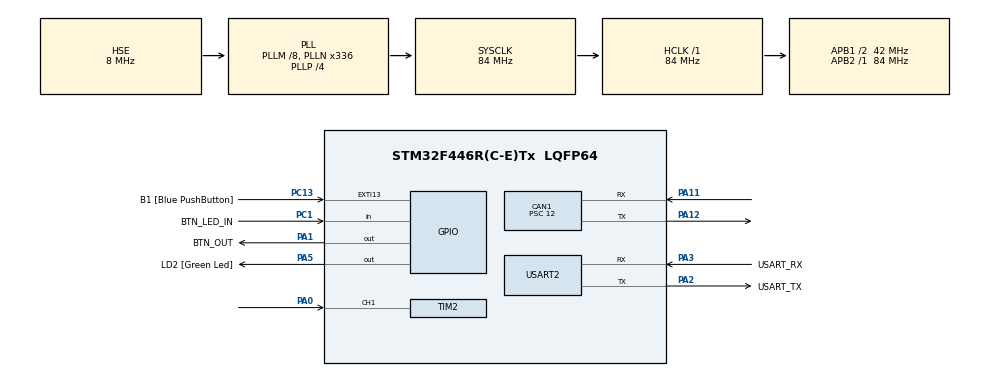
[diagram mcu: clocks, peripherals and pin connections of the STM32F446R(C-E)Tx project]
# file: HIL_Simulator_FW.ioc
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CAN1.BS1=CAN_BS1_11TQ
CAN1.BS2=CAN_BS2_2TQ
CAN1.CalculateBaudRate=250000
CAN1.CalculateTimeBit=4000
CAN1.CalculateTimeQuantum=285.7142857142857
CAN1.Prescaler=12
Mcu.Family=STM32F4
Mcu.Name=STM32F446R(C-E)Tx
Mcu.Package=LQFP64
NVIC.CAN1_RX0_IRQn=true\:15\:0\:true\:false\:true\:true\:true\:true
NVIC.CAN1_SCE_IRQn=true\:15\:0\:true\:false\:true\:true\:true\:true
NVIC.CAN1_TX_IRQn=true\:15\:0\:true\:false\:true\:true\:true\:true
NVIC.PriorityGroup=NVIC_PRIORITYGROUP_4
NVIC.TIM2_IRQn=true\:12\:0\:true\:false\:true\:true\:true\:true
NVIC.TIM6_DAC_IRQn=true\:0\:0\:false\:false\:true\:false\:true\:true
NVIC.TimeBase=TIM6_DAC_IRQn
NVIC.TimeBaseIP=TIM6
PA0-WKUP.Signal=S_TIM2_CH1_ETR
PA1.GPIO_Label=BTN_OUT
PA1.GPIO_PuPd=GPIO_PULLDOWN
PA1.Signal=GPIO_Output
PA11.Mode=CAN_Activate
PA11.Signal=CAN1_RX
PA12.Mode=CAN_Activate
PA12.Signal=CAN1_TX
PA13.GPIO_Label=TMS
PA13.Mode=Serial_Wire
PA13.Signal=SYS_JTMS-SWDIO
PA14.GPIO_Label=TCK
PA14.Mode=Serial_Wire
PA14.Signal=SYS_JTCK-SWCLK
PA2.GPIO_Label=USART_TX
PA2.Mode=Asynchronous
PA2.Signal=USART2_TX
PA3.GPIO_Label=USART_RX
PA3.Mode=Asynchronous
PA3.Signal=USART2_RX
PA5.GPIO_Label=LD2 [Green Led]
PA5.Signal=GPIO_Output
PB3.GPIO_Label=SWO
PB3.Signal=SYS_JTDO-SWO
PC1.GPIO_Label=BTN_LED_IN
PC1.Signal=GPIO_Input
PC13.GPIO_Label=B1 [Blue PushButton]
PC13.GPIO_ModeDefaultEXTI=GPIO_MODE_IT_FALLING
PC13.Signal=GPXTI13
PC14-OSC32_IN.Mode=LSE-External-Oscillator
PC14-OSC32_IN.Signal=RCC_OSC32_IN
PC15-OSC32_OUT.Mode=LSE-External-Oscillator
PC15-OSC32_OUT.Signal=RCC_OSC32_OUT
PH0-OSC_IN.Mode=HSE-External-Oscillator
PH0-OSC_IN.Signal=RCC_OSC_IN
PH1-OSC_OUT.Mode=HSE-External-Oscillator
PH1-OSC_OUT.Signal=RCC_OSC_OUT
ProjectManager.HeapSize=0x200
ProjectManager.StackSize=0x400
ProjectManager.TargetToolchain=STM32CubeIDE
RCC.48MHZClocksFreq_Value=84000000
RCC.AHBFreq_Value=84000000
RCC.APB1CLKDivider=RCC_HCLK_DIV2
RCC.APB1Freq_Value=42000000
RCC.APB1TimFreq_Value=84000000
RCC.APB2Freq_Value=84000000
RCC.APB2TimFreq_Value=84000000
RCC.CortexFreq_Value=84000000
RCC.FLatency-AdvancedSettings=FLASH_LATENCY_2
RCC.HCLKFreq_Value=84000000
RCC.HSE_VALUE=8000000
RCC.HSI_VALUE=16000000
RCC.PLLM=8
RCC.PLLN=336
RCC.PLLP=RCC_PLLP_DIV4
RCC.PLLSourceVirtual=RCC_PLLSOURCE_HSE
RCC.SYSCLKFreq_VALUE=84000000
RCC.SYSCLKSource=RCC_SYSCLKSOURCE_PLLCLK
RCC.USBFreq_Value=168000000
RCC.VCOOutputFreq_Value=336000000
SH.S_TIM2_CH1_ETR.0=TIM2_CH1,Input_Capture1_from_TI1
TIM2.AutoReloadPreload=TIM_AUTORELOAD_PRELOAD_DISABLE
TIM2.Channel-Input_Capture1_from_TI1=TIM_CHANNEL_1
TIM2.Period=0xFFFFFFFF
TIM2.Prescaler=1
USART2.VirtualMode=VM_ASYNC
VP_SYS_VS_tim6.Mode=TIM6
board=NUCLEO-F446RE

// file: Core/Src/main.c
/* USER CODE BEGIN Header */
/**
  ******************************************************************************
  * @file           : main.c
  * @brief          : Main program body
  ******************************************************************************
  * @attention
  *
  * Copyright (c) 2024 STMicroelectronics.
  * All rights reserved.
  *
  * This software is licensed under terms that can be found in the LICENSE file
  * in the root directory of this software component.
  * If no LICENSE file comes with this software, it is provided AS-IS.
  *
  ******************************************************************************
  */
/* USER CODE END Header */
#include "main.h"

/* USER CODE BEGIN Includes */

#include "comm_handler.h"
#include "test_case_handler.h"
#include "semphr.h"

#include <stdio.h>
#include <string.h>

/* USER CODE END Includes */

/* USER CODE BEGIN PD */

typedef void (*FuncPtr)(void *);
/* USER CODE END PD */

CAN_HandleTypeDef hcan1;

TIM_HandleTypeDef htim2;

UART_HandleTypeDef huart2;

/* USER CODE BEGIN PV */

TaskHandle_t xtaskHandles[MAX_EMULATOR_TASKS];
static FuncPtr taskFuntions[MAX_EMULATOR_TASKS] = { vComm_Uart_Handler
		, vGPIO_O_Test_Handler
		, vGPIO_IO_Test_Handler
		, vUART_Test_Handler
		, vI2C_Test_Handler
		, vCAN_Test_Handler };

static const char * taskNames[MAX_EMULATOR_TASKS] = { "vComm_Uart_Handler"
		, "vGPIO_O_Test_Handler"
		, "vGPIO_IO_Test_Handler"
		, "vUART_Test_Handler"
		, "vI2C_Test_Handler"
		, "vCAN_Test_Handler" };

QueueHandle_t xTestTaskQueues[MAX_TEST_TASKS];
SemaphoreHandle_t xLogMutex;

/* USER CODE END PV */

void SystemClock_Config(void);
static void MX_GPIO_Init(void);
static void MX_USART2_UART_Init(void);
static void MX_TIM2_Init(void);
static void MX_CAN1_Init(void);
/* USER CODE BEGIN PFP */

void vEmulator_Init( void );
/* USER CODE END PFP */

int main(void)
{

  /* MCU Configuration--------------------------------------------------------*/

  /* Reset of all peripherals, Initializes the Flash interface and the Systick. */
  HAL_Init();

  /* Configure the system clock */
  SystemClock_Config();

  /* USER CODE BEGIN SysInit */
  printf("HAL_RCC_GetSysClockFreq(): %ld\n",HAL_RCC_GetSysClockFreq());
  printf("HAL_RCC_GetHCLKFreq(): %ld\n",HAL_RCC_GetHCLKFreq());
  printf("HAL_RCC_GetPCLK1Freq(): %ld\n",HAL_RCC_GetPCLK1Freq());
  printf("HAL_RCC_GetPCLK2Freq(): %ld\n",HAL_RCC_GetPCLK2Freq());
  /* USER CODE END SysInit */

  /* Initialize all configured peripherals */
  MX_GPIO_Init();
  MX_USART2_UART_Init();
  MX_TIM2_Init();
  MX_CAN1_Init();
  /* USER CODE BEGIN 2 */

  /* Init Emulator */
  vEmulator_Init();

/*
 * char *welcome_msg = "Welcome to HIL Testing Hardware Emulator\r\n";
  HAL_UART_Transmit(&huart2, (uint8_t *)welcome_msg, strlen(welcome_msg), HAL_MAX_DELAY);
  HAL_Delay(1000);
*/

  /* start the scheduler */
  vTaskStartScheduler();

  /* USER CODE END 2 */

  /* Infinite loop */
  while (1)
  {

  }
}

void SystemClock_Config(void)
{
  RCC_OscInitTypeDef RCC_OscInitStruct = {0};
  RCC_ClkInitTypeDef RCC_ClkInitStruct = {0};

  /** Configure the main internal regulator output voltage
  */
  __HAL_RCC_PWR_CLK_ENABLE();
  __HAL_PWR_VOLTAGESCALING_CONFIG(PWR_REGULATOR_VOLTAGE_SCALE3);

  /** Initializes the RCC Oscillators according to the specified parameters
  * in the RCC_OscInitTypeDef structure.
  */
  RCC_OscInitStruct.OscillatorType = RCC_OSCILLATORTYPE_HSE;
  RCC_OscInitStruct.HSEState = RCC_HSE_ON;
  RCC_OscInitStruct.PLL.PLLState = RCC_PLL_ON;
  RCC_OscInitStruct.PLL.PLLSource = RCC_PLLSOURCE_HSE;
  RCC_OscInitStruct.PLL.PLLM = 8;
  RCC_OscInitStruct.PLL.PLLN = 336;
  RCC_OscInitStruct.PLL.PLLP = RCC_PLLP_DIV4;
  RCC_OscInitStruct.PLL.PLLQ = 2;
  RCC_OscInitStruct.PLL.PLLR = 2;
  if (HAL_RCC_OscConfig(&RCC_OscInitStruct) != HAL_OK)
  {
    Error_Handler();
  }

  /** Initializes the CPU, AHB and APB buses clocks
  */
  RCC_ClkInitStruct.ClockType = RCC_CLOCKTYPE_HCLK|RCC_CLOCKTYPE_SYSCLK
                              |RCC_CLOCKTYPE_PCLK1|RCC_CLOCKTYPE_PCLK2;
  RCC_ClkInitStruct.SYSCLKSource = RCC_SYSCLKSOURCE_PLLCLK;
  RCC_ClkInitStruct.AHBCLKDivider = RCC_SYSCLK_DIV1;
  RCC_ClkInitStruct.APB1CLKDivider = RCC_HCLK_DIV2;
  RCC_ClkInitStruct.APB2CLKDivider = RCC_HCLK_DIV1;

  if (HAL_RCC_ClockConfig(&RCC_ClkInitStruct, FLASH_LATENCY_2) != HAL_OK)
  {
    Error_Handler();
  }
}

static void MX_CAN1_Init(void)
{

  /* USER CODE BEGIN CAN1_Init 1 */
	/* 250 kbps bus */
  /* USER CODE END CAN1_Init 1 */
  hcan1.Instance = CAN1;
  hcan1.Init.Prescaler = 12;
  hcan1.Init.Mode = CAN_MODE_NORMAL;
  hcan1.Init.SyncJumpWidth = CAN_SJW_1TQ;
  hcan1.Init.TimeSeg1 = CAN_BS1_11TQ;
  hcan1.Init.TimeSeg2 = CAN_BS2_2TQ;
  hcan1.Init.TimeTriggeredMode = DISABLE;
  hcan1.Init.AutoBusOff = DISABLE;
  hcan1.Init.AutoWakeUp = DISABLE;
  hcan1.Init.AutoRetransmission = DISABLE;
  hcan1.Init.ReceiveFifoLocked = DISABLE;
  hcan1.Init.TransmitFifoPriority = DISABLE;
  if (HAL_CAN_Init(&hcan1) != HAL_OK)
  {
    Error_Handler();
  }

}

static void MX_TIM2_Init(void)
{

  TIM_MasterConfigTypeDef sMasterConfig = {0};
  TIM_IC_InitTypeDef sConfigIC = {0};

  /* USER CODE BEGIN TIM2_Init 1 */
  htim2.Instance = TIM2;
  htim2.Init.Prescaler = 1;		/* Divide by two */
  htim2.Init.CounterMode = TIM_COUNTERMODE_UP;
  htim2.Init.Period = 0xFFFFFFFF;
  htim2.Init.ClockDivision = TIM_CLOCKDIVISION_DIV1;
  htim2.Init.AutoReloadPreload = TIM_AUTORELOAD_PRELOAD_DISABLE;
  if (HAL_TIM_IC_Init(&htim2) != HAL_OK)
  {
    Error_Handler();
  }

  /* USER CODE END TIM2_Init 1 */
  htim2.Instance = TIM2;
  htim2.Init.Prescaler = 1;
  htim2.Init.CounterMode = TIM_COUNTERMODE_UP;
  htim2.Init.Period = 0xFFFFFFFF;
  htim2.Init.ClockDivision = TIM_CLOCKDIVISION_DIV1;
  htim2.Init.AutoReloadPreload = TIM_AUTORELOAD_PRELOAD_DISABLE;
  if (HAL_TIM_IC_Init(&htim2) != HAL_OK)
  {
    Error_Handler();
  }
  sMasterConfig.MasterOutputTrigger = TIM_TRGO_RESET;
  sMasterConfig.MasterSlaveMode = TIM_MASTERSLAVEMODE_DISABLE;
  if (HAL_TIMEx_MasterConfigSynchronization(&htim2, &sMasterConfig) != HAL_OK)
  {
    Error_Handler();
  }
  sConfigIC.ICPolarity = TIM_INPUTCHANNELPOLARITY_RISING;
  sConfigIC.ICSelection = TIM_ICSELECTION_DIRECTTI;
  sConfigIC.ICPrescaler = TIM_ICPSC_DIV1;
  sConfigIC.ICFilter = 0;
  if (HAL_TIM_IC_ConfigChannel(&htim2, &sConfigIC, TIM_CHANNEL_1) != HAL_OK)
  {
    Error_Handler();
  }

}

static void MX_USART2_UART_Init(void)
{

  huart2.Instance = USART2;
  huart2.Init.BaudRate = 115200;
  huart2.Init.WordLength = UART_WORDLENGTH_8B;
  huart2.Init.StopBits = UART_STOPBITS_1;
  huart2.Init.Parity = UART_PARITY_NONE;
  huart2.Init.Mode = UART_MODE_TX_RX;
  huart2.Init.HwFlowCtl = UART_HWCONTROL_NONE;
  huart2.Init.OverSampling = UART_OVERSAMPLING_16;
  if (HAL_UART_Init(&huart2) != HAL_OK)
  {
    Error_Handler();
  }

}

static void MX_GPIO_Init(void)
{
  GPIO_InitTypeDef GPIO_InitStruct = {0};

  /* GPIO Ports Clock Enable */
  __HAL_RCC_GPIOC_CLK_ENABLE();
  __HAL_RCC_GPIOH_CLK_ENABLE();
  __HAL_RCC_GPIOA_CLK_ENABLE();
  __HAL_RCC_GPIOB_CLK_ENABLE();

  /*Configure GPIO pin Output Level */
  HAL_GPIO_WritePin(GPIOA, BTN_OUT_Pin|LD2_Pin, GPIO_PIN_RESET);

  /*Configure GPIO pin : B1_Pin */
  GPIO_InitStruct.Pin = B1_Pin;
  GPIO_InitStruct.Mode = GPIO_MODE_IT_FALLING;
  GPIO_InitStruct.Pull = GPIO_NOPULL;
  HAL_GPIO_Init(B1_GPIO_Port, &GPIO_InitStruct);

  /*Configure GPIO pin : BTN_LED_IN_Pin */
  GPIO_InitStruct.Pin = BTN_LED_IN_Pin;
  GPIO_InitStruct.Mode = GPIO_MODE_INPUT;
  GPIO_InitStruct.Pull = GPIO_NOPULL;
  HAL_GPIO_Init(BTN_LED_IN_GPIO_Port, &GPIO_InitStruct);

  /*Configure GPIO pin : BTN_OUT_Pin */
  GPIO_InitStruct.Pin = BTN_OUT_Pin;
  GPIO_InitStruct.Mode = GPIO_MODE_OUTPUT_PP;
  GPIO_InitStruct.Pull = GPIO_PULLDOWN;
  GPIO_InitStruct.Speed = GPIO_SPEED_FREQ_LOW;
  HAL_GPIO_Init(BTN_OUT_GPIO_Port, &GPIO_InitStruct);

  /*Configure GPIO pin : LD2_Pin */
  GPIO_InitStruct.Pin = LD2_Pin;
  GPIO_InitStruct.Mode = GPIO_MODE_OUTPUT_PP;
  GPIO_InitStruct.Pull = GPIO_NOPULL;
  GPIO_InitStruct.Speed = GPIO_SPEED_FREQ_LOW;
  HAL_GPIO_Init(LD2_GPIO_Port, &GPIO_InitStruct);

}

/* USER CODE BEGIN 4 */

void CAN1_Filter_Config(void)
{
	HAL_StatusTypeDef status = HAL_ERROR;
	CAN_FilterTypeDef sCAN1FilterID = {0};

	sCAN1FilterID.FilterActivation =  ENABLE;
	sCAN1FilterID.FilterBank = 0;
	sCAN1FilterID.FilterFIFOAssignment = CAN_RX_FIFO0;
	sCAN1FilterID.FilterIdHigh = (0x65 << 5);		/* Accept ID 0x65 */
	sCAN1FilterID.FilterIdLow = 0x00;
	sCAN1FilterID.FilterMaskIdHigh = 0x00;
	sCAN1FilterID.FilterMaskIdLow = 0x00;
	sCAN1FilterID.FilterMode = CAN_FILTERMODE_IDLIST;
	sCAN1FilterID.FilterScale = CAN_FILTERSCALE_32BIT;

	status = HAL_CAN_ConfigFilter(&hcan1, &sCAN1FilterID);
	configASSERT( status == HAL_OK );
}

void vEmulator_Init( void )
{
	BaseType_t xReturned = pdFAIL;
	HAL_StatusTypeDef status = HAL_ERROR;

	/* Create UART2 communication handle task */
	xReturned = xTaskCreate(taskFuntions[TASK_ID_COMM]
			, taskNames[TASK_ID_COMM]
			, (4 * configMINIMAL_STACK_SIZE)
			, NULL
			, tskIDLE_PRIORITY + 1,
			&xtaskHandles[TASK_ID_COMM]);
	configASSERT( pdPASS == xReturned );

	/* Create test tasks and task queues */
	for(uint32_t i = 1; i <= MAX_TEST_TASKS; i++) {
		xReturned = xTaskCreate(taskFuntions[i]
				, taskNames[i]
				, (2 * configMINIMAL_STACK_SIZE)
				, (void *)i						/* Test Task ID */
				, tskIDLE_PRIORITY + 1,
				&xtaskHandles[i]);
		configASSERT( pdPASS == xReturned );

		xTestTaskQueues[i -1] = xQueueCreate(MAX_TEST_TASKS, sizeof(struct TestTaskTLV));
		configASSERT( xTestTaskQueues[i - 1] != NULL );
	}

	xLogMutex = xSemaphoreCreateRecursiveMutex();
	configASSERT( xLogMutex != NULL );

	/* Set CAN Filter */
	CAN1_Filter_Config();

	/* Activate CAN1 */
//	status = HAL_CAN_ActivateNotification(&hcan1,
//			CAN_IT_TX_MAILBOX_EMPTY | CAN_IT_RX_FIFO0_MSG_PENDING | CAN_IT_BUSOFF);		/* Activate interrupt */
//	configASSERT(HAL_OK == status);

	status = HAL_CAN_Start(&hcan1);	/* Move the CAN controller to Normal mode */
	configASSERT(HAL_OK == status);

	Add_To_Log("Emulator Init complete\n");
}

extern void tim2_ch1_ic_callback(TIM_HandleTypeDef *htim);		/* from test_case_handler.c */

void HAL_TIM_IC_CaptureCallback(TIM_HandleTypeDef *htim)
{
	if( htim->Channel == HAL_TIM_ACTIVE_CHANNEL_1 ) {
		tim2_ch1_ic_callback(htim);
	}
}

void HAL_CAN_TxMailbox0CompleteCallback(CAN_HandleTypeDef *hcan)
{
	printf("Message Transmitted MB0\n");
}
void HAL_CAN_TxMailbox1CompleteCallback(CAN_HandleTypeDef *hcan)
{
	printf("Message Transmitted MB1\n");
}

void HAL_CAN_TxMailbox2CompleteCallback(CAN_HandleTypeDef *hcan)
{
	printf("Message Transmitted MB2\n");
}

extern void can1_rxfifo0_msg_pending_callback(CAN_HandleTypeDef *hcan);

void HAL_CAN_RxFifo0MsgPendingCallback(CAN_HandleTypeDef *hcan)
{

	printf("RxFifo0 Message Pending\n");

	can1_rxfifo0_msg_pending_callback(hcan);
}

void HAL_CAN_ErrorCallback(CAN_HandleTypeDef *hcan)
{
	printf("CAN Error: %lX\n", hcan->ErrorCode);
}

/* USER CODE END 4 */

void HAL_TIM_PeriodElapsedCallback(TIM_HandleTypeDef *htim)
{
  if (htim->Instance == TIM6) {
    HAL_IncTick();
  }
}

void Error_Handler(void)
{
  /* USER CODE BEGIN Error_Handler_Debug */
  /* User can add his own implementation to report the HAL error return state */
  __disable_irq();
  printf("%s\n",__FUNCTION__);
  while (1)
  {
  }
  /* USER CODE END Error_Handler_Debug */
}
